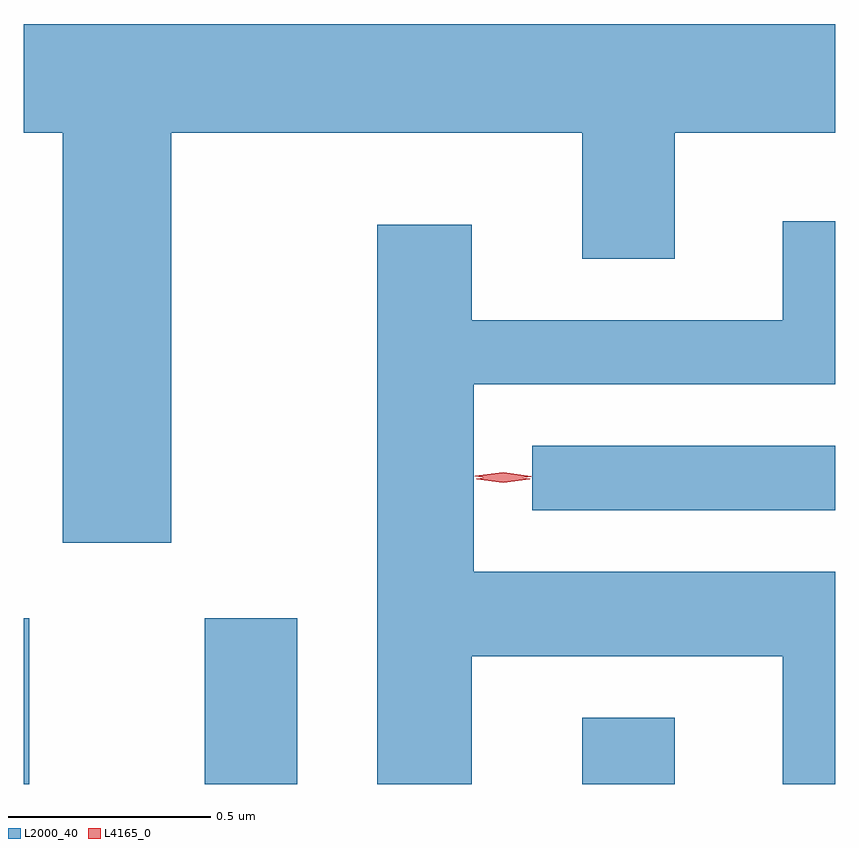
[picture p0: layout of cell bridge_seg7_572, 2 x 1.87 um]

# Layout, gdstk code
import gdstk
lib = gdstk.Library(unit=1e-6, precision=1e-09)
def R(c, l, rs):  # rectangles x0, y0, x1, y1
    for r in rs: c.add(gdstk.rectangle(r[:2], r[2:], *l))
def P(c, l, *ps):  # polygons
    for p in ps: c.add(gdstk.Polygon(p, *l))
L2000_40 = (2000, 40)
L4165_0 = (4165, 0)

bridge_seg7_572 = lib.new_cell('bridge_seg7_572')
R(bridge_seg7_572, L2000_40, [(1001.045,1759.331,1001.059,1759.739), (1001.491,1759.331,1001.719,1759.739), (1002.421,1759.331,1002.649,1759.494), (1002.298,1760.006,1003.045,1760.164)])
P(bridge_seg7_572, L2000_40, [(1001.409,1760.936),(1002.421,1760.936),(1002.421,1760.626),(1002.649,1760.626),(1002.649,1760.936),(1003.045,1760.936),(1003.045,1761.204),(1001.045,1761.204),(1001.045,1760.936),(1001.141,1760.936),(1001.141,1759.926),(1001.409,1759.926)],
  [(1002.149,1759.646),(1002.916,1759.646),(1002.916,1759.331),(1003.045,1759.331),(1003.045,1759.854),(1002.154,1759.854),(1002.154,1760.316),(1003.045,1760.316),(1003.045,1760.718),(1002.916,1760.718),(1002.916,1760.474),(1002.149,1760.474),(1002.149,1760.709),(1001.916,1760.709),(1001.916,1759.331),(1002.149,1759.331)])
P(bridge_seg7_572, L4165_0, [(1002.227,1760.08),(1002.158,1760.09),(1002.157,1760.09),(1002.158,1760.091),(1002.227,1760.099),(1002.296,1760.089),(1002.296,1760.089),(1002.296,1760.088)],
  [(1002.227,1760.073),(1002.161,1760.082),(1002.16,1760.083),(1002.161,1760.083),(1002.227,1760.093),(1002.292,1760.083),(1002.293,1760.083),(1002.292,1760.082)])

lib.write_gds('bridge_seg7_572.gds')
